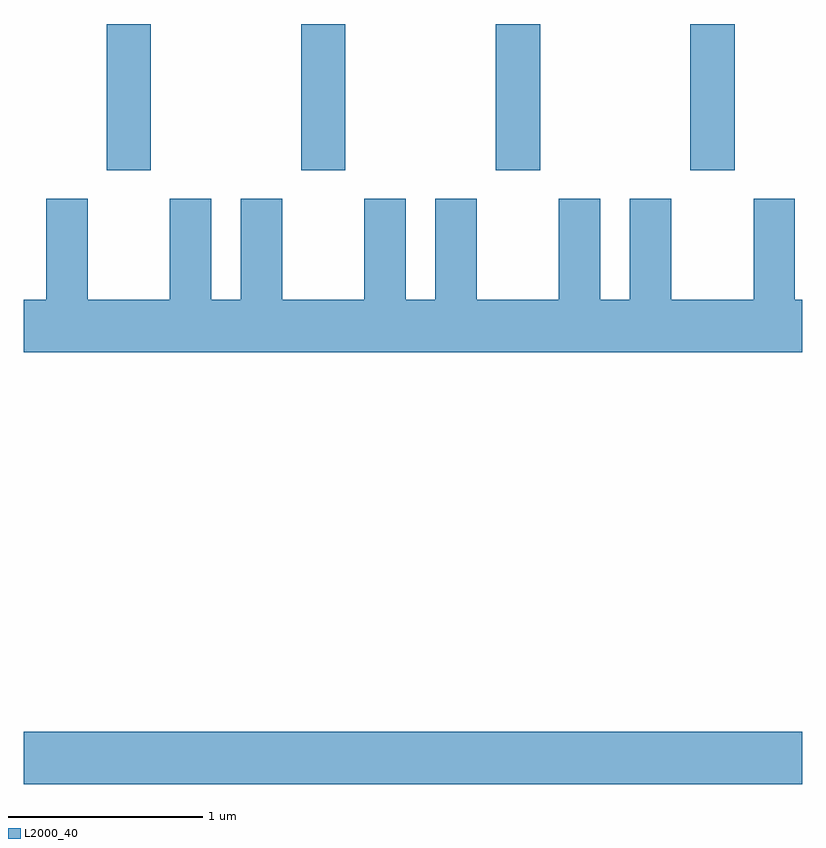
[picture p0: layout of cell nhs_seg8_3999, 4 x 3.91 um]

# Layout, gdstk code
import gdstk
lib = gdstk.Library(unit=1e-6, precision=1e-09)
def R(c, l, rs):  # rectangles x0, y0, x1, y1
    for r in rs: c.add(gdstk.rectangle(r[:2], r[2:], *l))
def A(c, l, x, y, w, h, nx, ny, dx, dy):  # array of equal rectangles
    R(c, l, [(x+i*dx, y+j*dy, x+i*dx+w, y+j*dy+h) for i in range(nx) for j in range(ny)])
def P(c, l, *ps):  # polygons
    for p in ps: c.add(gdstk.Polygon(p, *l))
L2000_40 = (2000, 40)

nhs_seg8_3999 = lib.new_cell('nhs_seg8_3999')
A(nhs_seg8_3999, L2000_40, 306.036, 1819.591, 0.228, 0.751, 4, 1, 1, 0)
R(nhs_seg8_3999, L2000_40, [(305.611,1816.436,309.611,1816.704)])
P(nhs_seg8_3999, L2000_40, [(309.611,1818.924),(309.574,1818.924),(309.574,1819.444),(309.361,1819.444),(309.361,1818.924),(308.939,1818.924),(308.939,1819.444),(308.726,1819.444),(308.726,1818.924),(308.574,1818.924),(308.574,1819.444),(308.361,1819.444),(308.361,1818.924),(307.939,1818.924),(307.939,1819.444),(307.726,1819.444),(307.726,1818.924),(307.574,1818.924),(307.574,1819.444),(307.361,1819.444),(307.361,1818.924),(306.939,1818.924),(306.939,1819.444),(306.726,1819.444),(306.726,1818.924),(306.574,1818.924),(306.574,1819.444),(306.361,1819.444),(306.361,1818.924),(305.939,1818.924),(305.939,1819.444),(305.726,1819.444),(305.726,1818.924),(305.611,1818.924),(305.611,1818.656),(309.611,1818.656)])

lib.write_gds('nhs_seg8_3999.gds')
